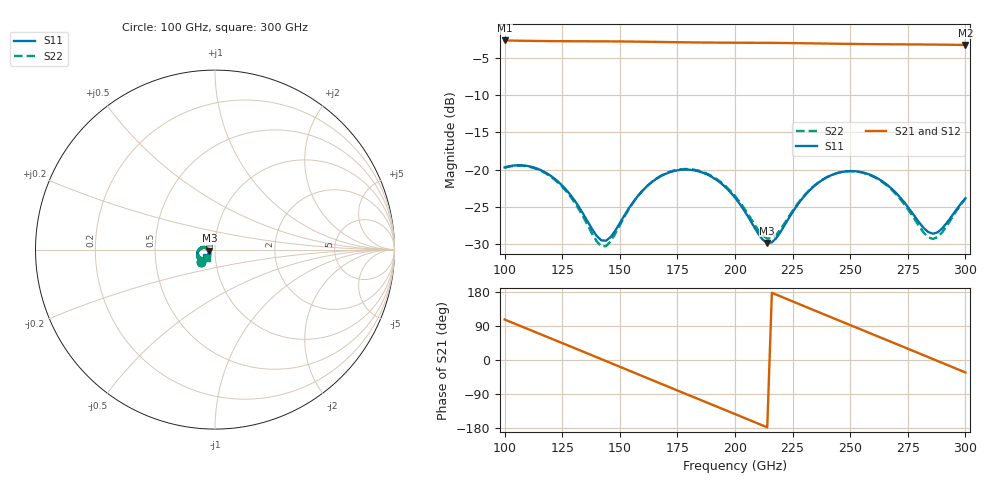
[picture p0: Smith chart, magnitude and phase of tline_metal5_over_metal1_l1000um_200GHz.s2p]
#  GHZ S DB R 50
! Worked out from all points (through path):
!   101 points, 100 GHz to 300 GHz, reference 50 ohm
!   highest |S21| = -2.66 dB at 100 GHz (marker M1); lowest = -3.3 dB at 300 GHz (marker M2)
!   group delay of S21, straight-line fit = 6.94 ps
!   lowest |S11| = -29.8 dB at 214 GHz (marker M3), VSWR 1.07, Z = 46.9 - j0.635 ohm
!   |S11| at or under -10 dB: start of sweep to end of sweep
!   |S22| runs from -30.3 to -19.5 dB; largest |S21 - S12| = 0
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100  -19.69 -138.7  -2.66 106.8  -2.66 106.8  -19.73 -139.1
108  -19.42 -154.4  -2.70 86.9  -2.70 86.9  -19.48 -154.9
116  -20.10 -169.4  -2.74 67.0  -2.74 67.0  -20.18 -170.1
126  -22.45 175.3  -2.76 42.2  -2.76 42.2  -22.62 174.2
134  -25.87 172.2  -2.77 22.3  -2.77 22.3  -26.26 170.8
140  -28.90 -174.3  -2.78 7.3  -2.78 7.3  -29.63 -174.3
144  -29.53 -155.0  -2.78 -2.8  -2.78 -2.8  -30.26 -152.2
156  -24.26 -130.2  -2.81 -32.9  -2.81 -32.9  -24.32 -126.9
168  -20.83 -144.1  -2.87 -62.9  -2.87 -62.9  -20.78 -141.7
176  -20.03 -157.7  -2.90 -82.9  -2.90 -82.9  -19.96 -155.5
184  -20.20 -171.7  -2.93 -102.8  -2.93 -102.8  -20.11 -169.6
200  -23.74 166.4  -2.96 -142.7  -2.96 -142.7  -23.54 168.8
214  -29.83 -167.9  -2.98 -177.7  -2.98 -177.7  -29.24 -167.5
224  -26.18 -134.9  -3.01 157.2  -3.01 157.2  -25.99 -136.3
234  -22.30 -139.4  -3.05 132.1  -3.05 132.1  -22.25 -140.2
242  -20.71 -150.8  -3.09 112.1  -3.09 112.1  -20.70 -151.3
250  -20.18 -163.8  -3.13 92.2  -3.13 92.2  -20.20 -164.2
258  -20.60 -176.7  -3.15 72.2  -3.15 72.2  -20.65 -177.2
268  -22.55 170.4  -3.18 47.3  -3.18 47.3  -22.69 169.6
278  -26.26 170.0  -3.19 22.3  -3.19 22.3  -26.68 169.2
286  -28.59 -166.5  -3.21 2.3  -3.21 2.3  -29.30 -164.1
300  -23.83 -140.5  -3.27 -32.8  -3.27 -32.8  -23.89 -136.2
